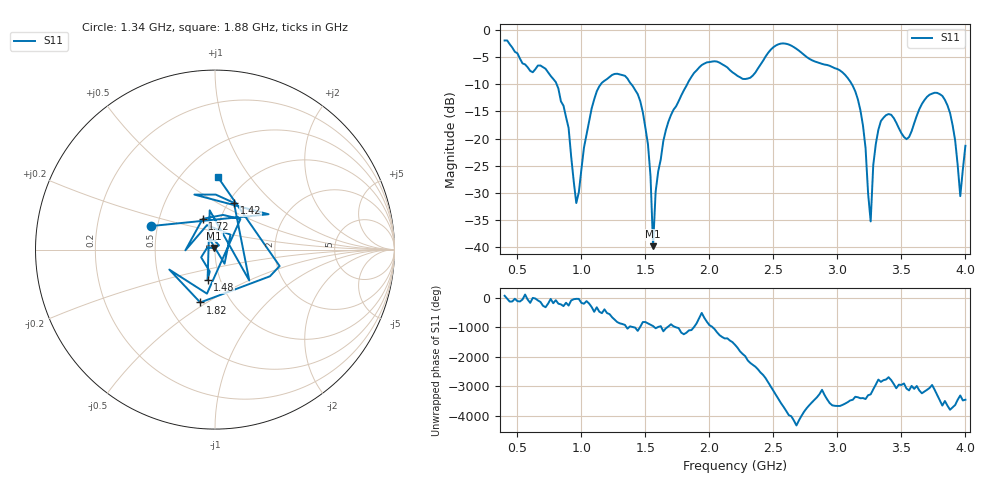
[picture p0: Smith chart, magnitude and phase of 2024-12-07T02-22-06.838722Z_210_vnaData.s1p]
!Created with skrf (http://scikit-rf.org).
# Hz S RI R 50.0
!freq ReS11 ImS11
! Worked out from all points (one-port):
!   181 points, 400 MHz to 4 GHz, reference 50 ohm
!   lowest |S11| = -39.9 dB at 1.56 GHz (marker M1), VSWR 1.02, Z = 49.5 + j0.865 ohm
!   |S11| at or under -10 dB: 807 MHz to 1.151 GHz (344 MHz wide, 35.1 % of centre); 1.391 GHz to 1.826 GHz (435.7 MHz wide, 27.1 % of centre); 3.113 GHz to end of sweep
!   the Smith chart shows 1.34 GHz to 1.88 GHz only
!   S11 on the Smith chart (normalised r, x): 1.34 GHz: 0.46, +0.14; 1.42 GHz: 1.06, +0.60; 1.48 GHz: 0.87, -0.30; 1.72 GHz: 0.82, +0.29; 1.82 GHz: 0.72, -0.47; 1.88 GHz: 0.74, +0.71
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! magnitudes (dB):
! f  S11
! 400 MHz  -1.9
! 860 MHz  -13.9
! 960 MHz  -31.9
! 1.12 GHz  -11.3
! 1.3 GHz  -8.2
! 1.34 GHz  -8.4
! 1.42 GHz  -11.0
! 1.48 GHz  -15.2
! 1.54 GHz  -27.0
! 1.56 GHz  -39.9
! 1.6 GHz  -26.1
! 1.72 GHz  -14.7
! 1.76 GHz  -13.1
! 1.82 GHz  -10.3
! 1.88 GHz  -7.9
! 2.2 GHz  -8.1
! 2.66 GHz  -3.1
! 3.1 GHz  -9.5
! 3.2 GHz  -17.6
! 3.26 GHz  -35.3
! 3.28 GHz  -24.9
! 3.34 GHz  -16.8
! 3.56 GHz  -19.7
! 3.7 GHz  -12.3
! 3.82 GHz  -12.1
! 3.9 GHz  -17.5
! 3.96 GHz  -30.6
! 4 GHz  -21.3
